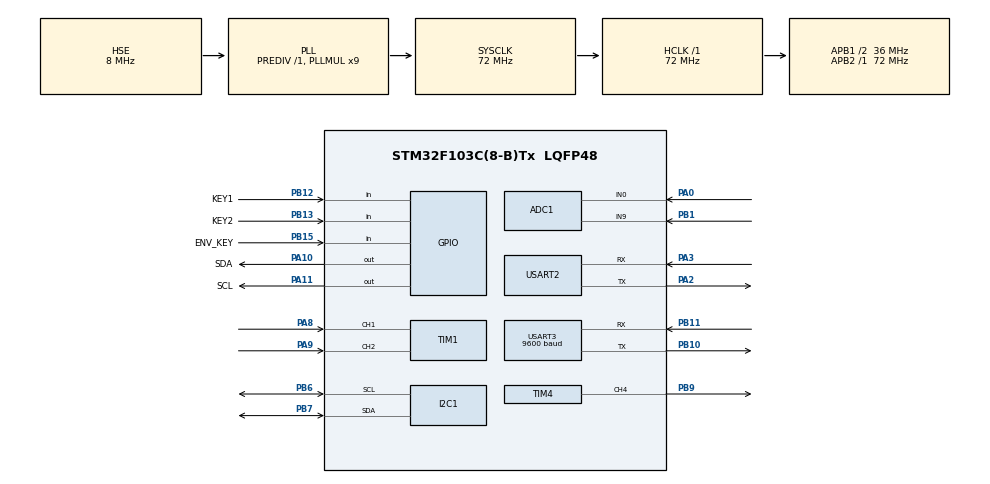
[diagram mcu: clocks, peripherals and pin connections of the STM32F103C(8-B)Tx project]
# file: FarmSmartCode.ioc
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ADC1.Channel-0\#ChannelRegularConversion=ADC_CHANNEL_0
ADC1.Channel-1\#ChannelRegularConversion=ADC_CHANNEL_9
ADC1.ContinuousConvMode=DISABLE
ADC1.ExternalTrigConv=ADC_EXTERNALTRIGCONV_T3_TRGO
ADC1.NbrOfConversion=2
ADC1.NbrOfConversionFlag=1
ADC1.Rank-0\#ChannelRegularConversion=1
ADC1.Rank-1\#ChannelRegularConversion=2
ADC1.SamplingTime-0\#ChannelRegularConversion=ADC_SAMPLETIME_239CYCLES_5
ADC1.SamplingTime-1\#ChannelRegularConversion=ADC_SAMPLETIME_239CYCLES_5
ADC1.master=1
Dma.ADC1.2.Direction=DMA_PERIPH_TO_MEMORY
Dma.ADC1.2.Instance=DMA1_Channel1
Dma.ADC1.2.MemDataAlignment=DMA_MDATAALIGN_HALFWORD
Dma.ADC1.2.MemInc=DMA_MINC_ENABLE
Dma.ADC1.2.Mode=DMA_CIRCULAR
Dma.ADC1.2.PeriphDataAlignment=DMA_PDATAALIGN_HALFWORD
Dma.ADC1.2.PeriphInc=DMA_PINC_DISABLE
Dma.ADC1.2.Priority=DMA_PRIORITY_LOW
Dma.Request0=USART3_RX
Dma.Request1=USART3_TX
Dma.Request2=ADC1
Dma.USART3_RX.0.Direction=DMA_PERIPH_TO_MEMORY
Dma.USART3_RX.0.Instance=DMA1_Channel3
Dma.USART3_RX.0.MemDataAlignment=DMA_MDATAALIGN_BYTE
Dma.USART3_RX.0.MemInc=DMA_MINC_ENABLE
Dma.USART3_RX.0.Mode=DMA_NORMAL
Dma.USART3_RX.0.PeriphDataAlignment=DMA_PDATAALIGN_BYTE
Dma.USART3_RX.0.PeriphInc=DMA_PINC_DISABLE
Dma.USART3_RX.0.Priority=DMA_PRIORITY_LOW
Dma.USART3_TX.1.Direction=DMA_MEMORY_TO_PERIPH
Dma.USART3_TX.1.Instance=DMA1_Channel2
Dma.USART3_TX.1.MemDataAlignment=DMA_MDATAALIGN_BYTE
Dma.USART3_TX.1.MemInc=DMA_MINC_ENABLE
Dma.USART3_TX.1.Mode=DMA_NORMAL
Dma.USART3_TX.1.PeriphDataAlignment=DMA_PDATAALIGN_BYTE
Dma.USART3_TX.1.PeriphInc=DMA_PINC_DISABLE
Dma.USART3_TX.1.Priority=DMA_PRIORITY_LOW
FREERTOS.Mutexes01=I2C_Bus_Mutex,Dynamic,NULL,Available
FREERTOS.Queues01=BLEQueue,16,uint8_t,0,Dynamic,NULL,NULL
FREERTOS.Tasks01=AlterTask,24,128,StartAlterTask,Default,NULL,Dynamic,NULL,NULL;OLEDTask,24,128,StartOLEDTask,Default,NULL,Dynamic,NULL,NULL;SensorTask,8,128,StartSensorTask,Default,NULL,Dynamic,NULL,NULL;InputTask,8,128,StartInputTask,Default,NULL,Dynamic,NULL,NULL
I2C1.I2C_Mode=I2C_Fast
Mcu.Family=STM32F1
Mcu.Name=STM32F103C(8-B)Tx
Mcu.Package=LQFP48
NVIC.DMA1_Channel1_IRQn=true\:5\:0\:false\:false\:true\:true\:false\:true\:true
NVIC.DMA1_Channel2_IRQn=true\:5\:0\:false\:false\:true\:true\:false\:true\:true
NVIC.DMA1_Channel3_IRQn=true\:5\:0\:false\:false\:true\:true\:false\:true\:true
NVIC.PriorityGroup=NVIC_PRIORITYGROUP_4
NVIC.TIM2_IRQn=true\:15\:0\:false\:false\:true\:false\:false\:true\:true
NVIC.TimeBase=TIM2_IRQn
NVIC.TimeBaseIP=TIM2
PA0-WKUP.Signal=ADCx_IN0
PA10.GPIO_Label=SDA
PA10.GPIO_ModeDefaultOutputPP=GPIO_MODE_OUTPUT_OD
PA10.GPIO_PuPd=GPIO_PULLUP
PA10.PinState=GPIO_PIN_SET
PA10.Signal=GPIO_Output
PA11.GPIO_Label=SCL
PA11.GPIO_ModeDefaultOutputPP=GPIO_MODE_OUTPUT_OD
PA11.GPIO_PuPd=GPIO_PULLUP
PA11.PinState=GPIO_PIN_SET
PA11.Signal=GPIO_Output
PA13.Mode=Serial_Wire
PA13.Signal=SYS_JTMS-SWDIO
PA14.Mode=Serial_Wire
PA14.Signal=SYS_JTCK-SWCLK
PA2.Mode=Asynchronous
PA2.Signal=USART2_TX
PA3.Mode=Asynchronous
PA3.Signal=USART2_RX
PA8.Signal=S_TIM1_CH1
PA9.Signal=S_TIM1_CH2
PB1.Signal=ADCx_IN9
PB10.Mode=Asynchronous
PB10.Signal=USART3_TX
PB11.Mode=Asynchronous
PB11.Signal=USART3_RX
PB12.GPIO_Label=KEY1
PB12.GPIO_PuPd=GPIO_NOPULL
PB12.Signal=GPIO_Input
PB13.GPIO_Label=KEY2
PB13.GPIO_PuPd=GPIO_PULLUP
PB13.Signal=GPIO_Input
PB15.GPIO_Label=ENV_KEY
PB15.GPIO_PuPd=GPIO_PULLUP
PB15.Signal=GPIO_Input
PB6.Mode=I2C
PB6.Signal=I2C1_SCL
PB7.Mode=I2C
PB7.Signal=I2C1_SDA
PB9.Signal=S_TIM4_CH4
PD0-OSC_IN.Mode=HSE-External-Oscillator
PD0-OSC_IN.Signal=RCC_OSC_IN
PD1-OSC_OUT.Mode=HSE-External-Oscillator
PD1-OSC_OUT.Signal=RCC_OSC_OUT
ProjectManager.HeapSize=0x200
ProjectManager.StackSize=0x400
ProjectManager.TargetToolchain=CMake
RCC.ADCPresc=RCC_ADCPCLK2_DIV6
RCC.AHBFreq_Value=72000000
RCC.APB1CLKDivider=RCC_HCLK_DIV2
RCC.APB1Freq_Value=36000000
RCC.APB1TimFreq_Value=72000000
RCC.APB2Freq_Value=72000000
RCC.APB2TimFreq_Value=72000000
RCC.HCLKFreq_Value=72000000
RCC.PLLMUL=RCC_PLL_MUL9
RCC.PLLSourceVirtual=RCC_PLLSOURCE_HSE
RCC.SYSCLKFreq_VALUE=72000000
RCC.SYSCLKSource=RCC_SYSCLKSOURCE_PLLCLK
RCC.USBFreq_Value=72000000
SH.ADCx_IN0.0=ADC1_IN0,IN0
SH.ADCx_IN0.1=ADC2_IN0
SH.ADCx_IN9.0=ADC1_IN9,IN9
SH.S_TIM1_CH1.0=TIM1_CH1,Encoder_Interface
SH.S_TIM1_CH2.0=TIM1_CH2,Encoder_Interface
SH.S_TIM4_CH4.0=TIM4_CH4,PWM Generation4 CH4
TIM3.Period=10000-1
TIM3.Prescaler=72-1
TIM3.TIM_MasterOutputTrigger=TIM_TRGO_UPDATE
TIM4.Channel-PWM\ Generation4\ CH4=TIM_CHANNEL_4
TIM4.Period=1000-1
TIM4.Prescaler=72-1
USART2.VirtualMode=VM_ASYNC
USART3.BaudRate=9600
USART3.VirtualMode=VM_ASYNC
VP_FREERTOS_VS_CMSIS_V2.Mode=CMSIS_V2
VP_SYS_VS_tim2.Mode=TIM2
VP_TIM3_VS_ClockSourceINT.Mode=Internal
VP_TIM4_VS_ClockSourceINT.Mode=Internal
board=custom

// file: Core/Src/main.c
/* USER CODE BEGIN Header */
/**
  ******************************************************************************
  * @file           : main.c
  * @brief          : Main program body
  ******************************************************************************
  * @attention
  *
  * Copyright (c) 2026 STMicroelectronics.
  * All rights reserved.
  *
  * This software is licensed under terms that can be found in the LICENSE file
  * in the root directory of this software component.
  * If no LICENSE file comes with this software, it is provided AS-IS.
  *
  ******************************************************************************
  */
/* USER CODE END Header */
#include "main.h"
#include "cmsis_os.h"
#include "adc.h"
#include "dma.h"
#include "i2c.h"
#include "tim.h"
#include "usart.h"
#include "gpio.h"

void SystemClock_Config(void);
void MX_FREERTOS_Init(void);

int main(void)
{

  /* MCU Configuration--------------------------------------------------------*/

  /* Reset of all peripherals, Initializes the Flash interface and the Systick. */
  HAL_Init();

  /* Configure the system clock */
  SystemClock_Config();

  /* Initialize all configured peripherals */
  MX_GPIO_Init();
  MX_DMA_Init();
  MX_I2C1_Init();
  MX_USART2_UART_Init();
  MX_TIM4_Init();
  MX_TIM1_Init();
  MX_USART3_UART_Init();
  MX_ADC1_Init();
  MX_TIM3_Init();

  /* Init scheduler */
  osKernelInitialize();  /* Call init function for freertos objects (in cmsis_os2.c) */
  MX_FREERTOS_Init();

  /* Start scheduler */
  osKernelStart();

  /* We should never get here as control is now taken by the scheduler */

  /* Infinite loop */
  while (1)
  {

  }
}

void SystemClock_Config(void)
{
  RCC_OscInitTypeDef RCC_OscInitStruct = {0};
  RCC_ClkInitTypeDef RCC_ClkInitStruct = {0};
  RCC_PeriphCLKInitTypeDef PeriphClkInit = {0};

  /** Initializes the RCC Oscillators according to the specified parameters
  * in the RCC_OscInitTypeDef structure.
  */
  RCC_OscInitStruct.OscillatorType = RCC_OSCILLATORTYPE_HSE;
  RCC_OscInitStruct.HSEState = RCC_HSE_ON;
  RCC_OscInitStruct.HSEPredivValue = RCC_HSE_PREDIV_DIV1;
  RCC_OscInitStruct.HSIState = RCC_HSI_ON;
  RCC_OscInitStruct.PLL.PLLState = RCC_PLL_ON;
  RCC_OscInitStruct.PLL.PLLSource = RCC_PLLSOURCE_HSE;
  RCC_OscInitStruct.PLL.PLLMUL = RCC_PLL_MUL9;
  if (HAL_RCC_OscConfig(&RCC_OscInitStruct) != HAL_OK)
  {
    Error_Handler();
  }

  /** Initializes the CPU, AHB and APB buses clocks
  */
  RCC_ClkInitStruct.ClockType = RCC_CLOCKTYPE_HCLK|RCC_CLOCKTYPE_SYSCLK
                              |RCC_CLOCKTYPE_PCLK1|RCC_CLOCKTYPE_PCLK2;
  RCC_ClkInitStruct.SYSCLKSource = RCC_SYSCLKSOURCE_PLLCLK;
  RCC_ClkInitStruct.AHBCLKDivider = RCC_SYSCLK_DIV1;
  RCC_ClkInitStruct.APB1CLKDivider = RCC_HCLK_DIV2;
  RCC_ClkInitStruct.APB2CLKDivider = RCC_HCLK_DIV1;

  if (HAL_RCC_ClockConfig(&RCC_ClkInitStruct, FLASH_LATENCY_2) != HAL_OK)
  {
    Error_Handler();
  }
  PeriphClkInit.PeriphClockSelection = RCC_PERIPHCLK_ADC;
  PeriphClkInit.AdcClockSelection = RCC_ADCPCLK2_DIV6;
  if (HAL_RCCEx_PeriphCLKConfig(&PeriphClkInit) != HAL_OK)
  {
    Error_Handler();
  }
}

void HAL_TIM_PeriodElapsedCallback(TIM_HandleTypeDef *htim)
{
  if (htim->Instance == TIM2)
  {
    HAL_IncTick();
  }
}

void Error_Handler(void)
{
  __disable_irq();
  while (1)
  {
  }
}

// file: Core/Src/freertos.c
/* USER CODE BEGIN Header */
/**
  ******************************************************************************
  * File Name          : freertos.c
  * Description        : Code for freertos applications
  ******************************************************************************
  * @attention
  *
  * Copyright (c) 2026 STMicroelectronics.
  * All rights reserved.
  *
  * This software is licensed under terms that can be found in the LICENSE file
  * in the root directory of this software component.
  * If no LICENSE file comes with this software, it is provided AS-IS.
  *
  ******************************************************************************
  */
/* USER CODE END Header */

#include "FreeRTOS.h"
#include "task.h"
#include "main.h"
#include "cmsis_os.h"

/* USER CODE BEGIN Includes */
#include "usart.h"
#include "../ASP/oled/oled.h"
#include "../ASP/aht20/aht20.h"
#include <stdio.h>
#include "../ASP/encoder/encoder.h"
#include "../ASP/light/light.h"
#include "../utils/FormatValue.h"
#include "../ASP/buzzer/buzzer.h"
#include "../utils/soft_I2C.h"
#include "../ASP/key/key.h"
#include "../configuration/screen.h"
#include "../configuration/environment.h"
#include "../ASP/ble/ble.h"
#include "../ASP/soil/soil.h"

#define OK 0
#define TEMP_ERROR 1
#define HUM_ERROR 2
#define LUX_ERROR 3
/* USER CODE END Includes */

/* USER CODE BEGIN PM */
uint8_t count = 0;
char luxText[32];
char temperatureText[32];
char humidityText[32];
char soilText[32];
KnobEvent direction;
/* USER CODE END PM */

/* USER CODE BEGIN Variables */
char msg[64];
/* USER CODE END Variables */
/* Definitions for AlterTask */
osThreadId_t AlterTaskHandle;
const osThreadAttr_t AlterTask_attributes = {
  .name = "AlterTask",
  .stack_size = 128 * 4,
  .priority = (osPriority_t) osPriorityNormal,
};
/* Definitions for OLEDTask */
osThreadId_t OLEDTaskHandle;
const osThreadAttr_t OLEDTask_attributes = {
  .name = "OLEDTask",
  .stack_size = 128 * 4,
  .priority = (osPriority_t) osPriorityNormal,
};
/* Definitions for SensorTask */
osThreadId_t SensorTaskHandle;
const osThreadAttr_t SensorTask_attributes = {
  .name = "SensorTask",
  .stack_size = 128 * 4,
  .priority = (osPriority_t) osPriorityLow,
};
/* Definitions for InputTask */
osThreadId_t InputTaskHandle;
const osThreadAttr_t InputTask_attributes = {
  .name = "InputTask",
  .stack_size = 128 * 4,
  .priority = (osPriority_t) osPriorityLow,
};
/* Definitions for BLEQueue */
osMessageQueueId_t BLEQueueHandle;
const osMessageQueueAttr_t BLEQueue_attributes = {
  .name = "BLEQueue"
};
/* Definitions for I2C_Bus_Mutex */
osMutexId_t I2C_Bus_MutexHandle;
const osMutexAttr_t I2C_Bus_Mutex_attributes = {
  .name = "I2C_Bus_Mutex"
};

/* USER CODE BEGIN FunctionPrototypes */
void ShowScreen(void) {
    OLED_PrintString(0,0,(char*)"Show:");
    OLED_PrintString(0,1,temperatureText);
    OLED_PrintString(0, 2, humidityText);
    OLED_PrintString(0,3, luxText);
    OLED_PrintString(0,4,soilText);
}

char isChange(uint8_t state) {
  if (count == state) {
    return '*';
  }else {
    return ' ';
  }
}

void updateUserState(void) {
    if (screenState == EDIT) {
      switch (count) {
        case 0:
            /* 尚未选中可编辑字段，不处理旋转 */
            break;

        case 1: /* 最大温度 */
            switch (direction) {
                case KNOB_RIGHT:
                    if (userSetState.temperature.max - 1.0f >=
                        userSetState.temperature.min) {
                        userSetState.temperature.max -= 1.0f;
                    }
                    break;

                case KNOB_LEFT:
                    if (userSetState.temperature.max + 1.0f <=
                        farmSafeState.MAX_TEMPERATURE) {
                        userSetState.temperature.max += 1.0f;
                    }
                    break;

                default:
                    break;
            }
            break;

        case 2: /* 最小温度 */
            switch (direction) {
                case KNOB_RIGHT:
                    if (userSetState.temperature.min - 1.0f >=
                        farmSafeState.MIN_TEMPERATURE) {
                        userSetState.temperature.min -= 1.0f;
                    }
                    break;

                case KNOB_LEFT:
                    if (userSetState.temperature.min + 1.0f <=
                        userSetState.temperature.max) {
                        userSetState.temperature.min += 1.0f;
                    }
                    break;

                default:
                    break;
            }
            break;

        case 3: /* 最大湿度 */
            switch (direction) {
                case KNOB_RIGHT:
                    if (userSetState.humidity.max - 1.0f >=
                        userSetState.humidity.min) {
                        userSetState.humidity.max -= 1.0f;
                    }
                    break;

                case KNOB_LEFT:
                    if (userSetState.humidity.max + 1.0f <=
                        farmSafeState.MAX_HUMIDITY) {
                        userSetState.humidity.max += 1.0f;
                    }
                    break;

                default:
                    break;
            }
            break;

        case 4: /* 最小湿度 */
            switch (direction) {
                case KNOB_RIGHT:
                    if (userSetState.humidity.min - 1.0f >=
                        farmSafeState.MIN_HUMIDITY) {
                        userSetState.humidity.min -= 1.0f;
                    }
                    break;

                case KNOB_LEFT:
                    if (userSetState.humidity.min + 1.0f <=
                        userSetState.humidity.max) {
                        userSetState.humidity.min += 1.0f;
                    }
                    break;

                default:
                    break;
            }
            break;

        case 5: /* 最大光照强度 */
            switch (direction) {
                case KNOB_RIGHT:
                    if (userSetState.illuminance.max - 1.0f >=
                        userSetState.illuminance.min) {
                        userSetState.illuminance.max -= 1.0f;
                    }
                    break;

                case KNOB_LEFT:
                    if (userSetState.illuminance.max + 1.0f <=
                        farmSafeState.MAX_Illuminance) {
                        userSetState.illuminance.max += 1.0f;
                    }
                    break;

                default:
                    break;
            }
            break;

        case 6: /* 最小光照强度 */
            switch (direction) {
                case KNOB_RIGHT:
                    if (userSetState.illuminance.min - 1.0f >=
                        farmSafeState.MIN_Illuminance) {
                        userSetState.illuminance.min -= 1.0f;
                    }
                    break;

                case KNOB_LEFT:
                    if (userSetState.illuminance.min + 1.0f <=
                        userSetState.illuminance.max) {
                        userSetState.illuminance.min += 1.0f;
                    }
                    break;

                default:
                    break;
            }
            break;

        case 7: /* 最大降雨量 */
            switch (direction) {
                case KNOB_RIGHT:
                    if (userSetState.precipitation.max - 1.0f >=
                        userSetState.precipitation.min) {
                        userSetState.precipitation.max -= 1.0f;
                    }
                    break;

                case KNOB_LEFT:
                    if (userSetState.precipitation.max + 1.0f <=
                        farmSafeState.MAX_Precipitation) {
                        userSetState.precipitation.max += 1.0f;
                    }
                    break;

                default:
                    break;
            }
            break;

        case 8: /* 最小降雨量 */
            switch (direction) {
                case KNOB_RIGHT:
                    if (userSetState.precipitation.min - 1.0f >=
                        farmSafeState.MIN_Precipitation) {
                        userSetState.precipitation.min -= 1.0f;
                    }
                    break;

                case KNOB_LEFT:
                    if (userSetState.precipitation.min + 1.0f <=
                        userSetState.precipitation.max) {
                        userSetState.precipitation.min += 1.0f;
                    }
                    break;

                default:
                    break;
            }
            break;

        case 9: /* 最大土壤温度 */
            switch (direction) {
                case KNOB_RIGHT:
                    if (userSetState.soilHumidity.max - 1.0f >=
                        userSetState.soilHumidity.min) {
                        userSetState.soilHumidity.max -= 1.0f;
                    }
                    break;

                case KNOB_LEFT:
                    if (userSetState.soilHumidity.max + 1.0f <=
                        farmSafeState.MAX_SoilHUMIDITY) {
                        userSetState.soilHumidity.max += 1.0f;
                    }
                    break;

                default:
                    break;
            }
            break;

        case 10: /* 最小土壤温度 */
            switch (direction) {
                case KNOB_RIGHT:
                    if (userSetState.soilHumidity.min - 1.0f >=
                        farmSafeState.MAX_SoilHUMIDITY) {
                        userSetState.soilHumidity.min -= 1.0f;
                    }
                    break;

                case KNOB_LEFT:
                    if (userSetState.soilHumidity.min + 1.0f <=
                        userSetState.soilHumidity.max) {
                        userSetState.soilHumidity.min += 1.0f;
                    }
                    break;

                default:
                    break;
            }
            break;

        default:
            break;
    }
    }
}

void EditScreen(void) {
  char Text[32];
  int intNum1;
  int fracNum1;
  int intNum2;
  int fracNum2;

  OLED_PrintString(0,0,(char*)"Edit:");
  FormatValue(userSetState.temperature.max, &intNum1, &fracNum1);
  FormatValue(userSetState.temperature.min, &intNum2, &fracNum2);
  snprintf(Text, sizeof(Text), "%cT: %d.%d%cT: %d.%d",isChange(1), intNum1, fracNum1, isChange(2),intNum2, fracNum2);
  // snprintf(Text, sizeof(Text), "Temp %d.%d, Temp %d.%d",intNum1,fracNum1, intNum2, fracNum2);
  OLED_PrintString(0,1,Text);

  FormatValue(userSetState.humidity.max, &intNum1, &fracNum1);
  FormatValue(userSetState.humidity.min, &intNum2, &fracNum2);
  snprintf(Text, sizeof(Text), "%cH: %d.%d%cH: %d.%d",isChange(3),intNum1,fracNum1,isChange(4), intNum2, fracNum2);
  OLED_PrintString(0,2,Text);

  FormatValue(userSetState.illuminance.max, &intNum1, &fracNum1);
  FormatValue(userSetState.illuminance.min, &intNum2, &fracNum2);
  snprintf(Text, sizeof(Text), "%cI: %d.%d%cI: %d.%d",isChange(5),intNum1,fracNum1,isChange(6), intNum2, fracNum2);
  OLED_PrintString(0,3,Text);

  FormatValue(userSetState.precipitation.max, &intNum1, &fracNum1);
  FormatValue(userSetState.precipitation.min, &intNum2, &fracNum2);
  snprintf(Text, sizeof(Text), "%cP: %d.%d%cP: %d.%d",isChange(7),intNum1,fracNum1,isChange(8), intNum2, fracNum2);
  OLED_PrintString(0,4,Text);

  FormatValue(userSetState.soilHumidity.max, &intNum1, &fracNum1);
  FormatValue(userSetState.soilHumidity.min, &intNum2, &fracNum2);
  snprintf(Text, sizeof(Text), "%cS: %d.%d%cS: %d.%d",isChange(9),intNum1,fracNum1,isChange(10), intNum2, fracNum2);
  OLED_PrintString(0,5,Text);
}

uint8_t checkMsg(UserSetState userSetState) {
    if (StringToTempX10(temperatureText) > (int32_t)(userSetState.temperature.max * 10) || StringToTempX10(temperatureText) < (int32_t)(userSetState.temperature.min*10)) {
        return TEMP_ERROR;
    }else if (StringToTempX10(humidityText) > (int32_t)(userSetState.humidity.max * 10) || StringToTempX10(humidityText) < (int32_t)(userSetState.humidity.min*10)) {
        return HUM_ERROR;
    }else if (StringToTempX10(luxText) > (int32_t)(userSetState.illuminance.max*10) || StringToTempX10(luxText) < (int32_t)(userSetState.illuminance.min*10)) {
        return LUX_ERROR;
    }
    return OK;
}
/* USER CODE END FunctionPrototypes */

void StartAlterTask(void *argument);
void StartOLEDTask(void *argument);
void StartSensorTask(void *argument);
void StartInputTask(void *argument);

void MX_FREERTOS_Init(void); /* (MISRA C 2004 rule 8.1) */

void MX_FREERTOS_Init(void) {
  /* Create the mutex(es) */
  /* creation of I2C_Bus_Mutex */
  I2C_Bus_MutexHandle = osMutexNew(&I2C_Bus_Mutex_attributes);

  /* Create the queue(s) */
  /* creation of BLEQueue */
  BLEQueueHandle = osMessageQueueNew (16, sizeof(uint8_t), &BLEQueue_attributes);

  /* Create the thread(s) */
  /* creation of AlterTask */
  AlterTaskHandle = osThreadNew(StartAlterTask, NULL, &AlterTask_attributes);

  /* creation of OLEDTask */
  OLEDTaskHandle = osThreadNew(StartOLEDTask, NULL, &OLEDTask_attributes);

  /* creation of SensorTask */
  SensorTaskHandle = osThreadNew(StartSensorTask, NULL, &SensorTask_attributes);

  /* creation of InputTask */
  InputTaskHandle = osThreadNew(StartInputTask, NULL, &InputTask_attributes);

}

void StartAlterTask(void *argument)
{
  /* USER CODE BEGIN StartAlterTask */
    uint8_t error_msg = OK;
  /* Infinite loop */
  for(;;)
  {

    error_msg = checkMsg(userSetState);
    if (error_msg != OK) {
        // Buzzer_On();
        HAL_UART_Transmit(&huart2,(uint8_t*)"ERROR\n",6,1000);
        osMessageQueuePut(BLEQueueHandle, &error_msg, 0, 100);
        StartBLE();
    }
    osDelay(1000);
  }
  /* USER CODE END StartAlterTask */
}

void StartOLEDTask(void *argument)
{
  /* USER CODE BEGIN StartOLEDTask */
  OLED_Init();
  InitFarmSafeState();
  InitUserSetState();
  /* Infinite loop */
  for(;;)
  {
    osMutexAcquire(I2C_Bus_MutexHandle, osWaitForever);

    OLED_NewFrame();
    if (screenState == SHOW) {
      ShowScreen();
    }else {
      EditScreen();
    }
    OLED_ShowFrame();

    osMutexRelease(I2C_Bus_MutexHandle);

    osDelay(20);
  }
  /* USER CODE END StartOLEDTask */
}

void StartSensorTask(void *argument)
{
  /* USER CODE BEGIN StartSensorTask */

  float temperature, humidity;
  float lux = 0.0f;
  uint32_t soil;
  uint32_t rain;
  int intNum;
  int fracNum;

  I2C_Init();
  Light_Init();
  Soil_Init();

  /* Infinite loop */
  for(;;)
  {
    // 开始传感器采集
    osMutexAcquire(I2C_Bus_MutexHandle, osWaitForever);
    AHT20_Read(&temperature, &humidity);
    Light_ReadLux(&lux);
    soil = adc_dma_buffer[0];
    rain = adc_dma_buffer[1];
    if (soil > 4000) soil = 4000;
    soil =  100 - soil / 40;
    if (rain > 4000) rain = 4000;
    rain =  100 - rain / 40;
    FormatValue(lux, &intNum, &fracNum);
    snprintf(luxText,sizeof(luxText),"Lux: %d.%d lx",intNum,fracNum);

    FormatValue(temperature, &intNum, &fracNum);
    snprintf(temperatureText, sizeof(temperatureText),"Temp: %d.%d C", intNum, fracNum);

    FormatValue(humidity, &intNum, &fracNum);
    snprintf(humidityText, sizeof(humidityText),"Humi: %d.%d %%", intNum, fracNum);

    snprintf(soilText,sizeof(soilText), "Soil: %d rain: %d", soil, rain);

    osMutexRelease(I2C_Bus_MutexHandle);

    // 检测参数是否过高/过低

    osDelay(1000);
  }
  /* USER CODE END StartSensorTask */
}

void StartInputTask(void *argument)
{
  /* USER CODE BEGIN StartInputTask */
  Knob_Init();
  /* Infinite loop */
  for(;;)
  {
    uint8_t changeIsBtn = isButton_1();
    uint8_t envIsBtn = EnvIsBtn();
    direction = Knob_isRotating();
    updateUserState();
    if (changeIsBtn == 1) {
      ToggleScreen();
    }else {
      osDelay(1);
    }

    if (envIsBtn == 1) {
      if (count <= 9) count++;
      else count=0;
      osDelay(1);
    }else {
      osDelay(1);
    }
    osDelay(10);
  }
  /* USER CODE END StartInputTask */
}
